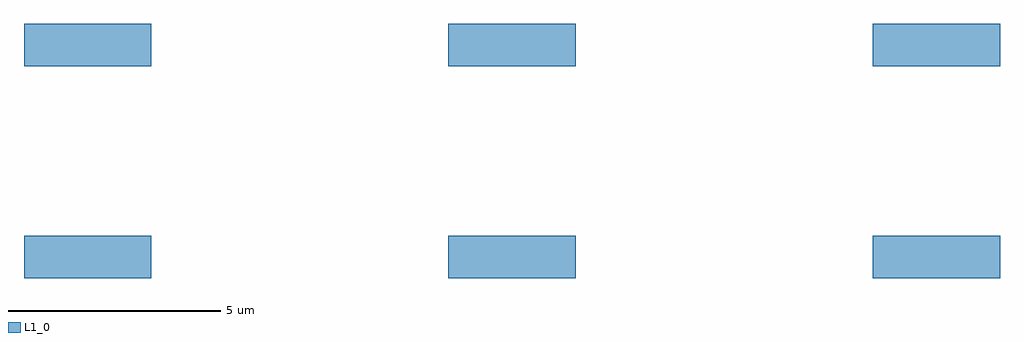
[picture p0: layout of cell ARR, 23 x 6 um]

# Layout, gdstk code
import gdstk
lib = gdstk.Library(unit=1e-6, precision=1e-09)
def R(c, l, rs):  # rectangles x0, y0, x1, y1
    for r in rs: c.add(gdstk.rectangle(r[:2], r[2:], *l))
L1_0 = (1, 0)

inv = lib.new_cell('INV')
R(inv, L1_0, [(0,0,2,1), (2,0,3,1)])

arr = lib.new_cell('ARR')
r = gdstk.Reference(inv, (0,0)); r.repetition = gdstk.Repetition(3, 2, v1=(10,0), v2=(0,5)); arr.add(r)

lib.write_gds('ARR.gds')
